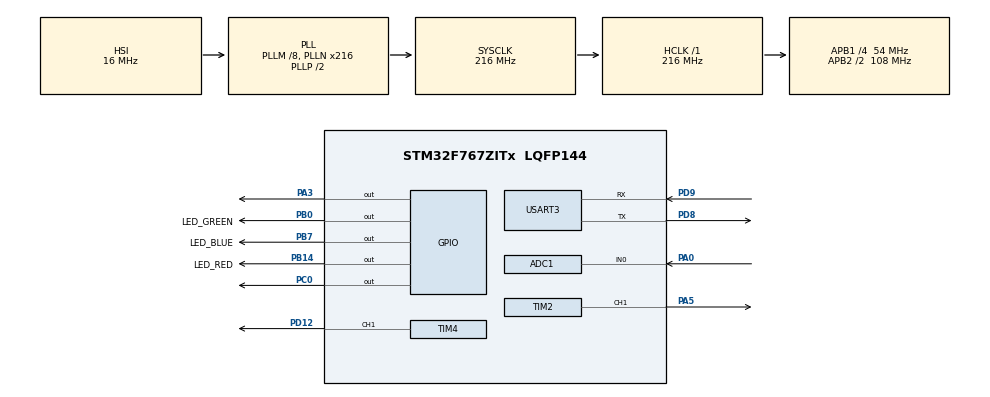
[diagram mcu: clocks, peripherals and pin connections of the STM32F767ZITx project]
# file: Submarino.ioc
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ADC1.Channel-0\#ChannelRegularConversion=ADC_CHANNEL_0
ADC1.ClockPrescaler=ADC_CLOCK_SYNC_PCLK_DIV4
ADC1.ContinuousConvMode=DISABLE
ADC1.DMAContinuousRequests=DISABLE
ADC1.DataAlign=ADC_DATAALIGN_RIGHT
ADC1.DiscontinuousConvMode=DISABLE
ADC1.EOCSelection=ADC_EOC_SINGLE_CONV
ADC1.EnableAnalogWatchDog=false
ADC1.ExternalTrigConv=ADC_SOFTWARE_START
ADC1.ExternalTrigConvEdge=ADC_EXTERNALTRIGCONVEDGE_NONE
ADC1.InjNumberOfConversion=0
ADC1.NbrOfConversion=1
ADC1.NbrOfConversionFlag=1
ADC1.Rank-0\#ChannelRegularConversion=1
ADC1.Resolution=ADC_RESOLUTION_12B
ADC1.SamplingTime-0\#ChannelRegularConversion=ADC_SAMPLETIME_3CYCLES
ADC1.ScanConvMode=DISABLE
ADC1.master=1
Mcu.Family=STM32F7
Mcu.Name=STM32F767ZITx
Mcu.Package=LQFP144
NVIC.PriorityGroup=NVIC_PRIORITYGROUP_4
NVIC.TIM4_IRQn=true\:0\:0\:false\:false\:true\:true
NVIC.TIM6_DAC_IRQn=true\:0\:0\:false\:false\:true\:true
NVIC.USART3_IRQn=true\:0\:0\:false\:false\:true\:true
PA0/WKUP.Signal=ADCx_IN0
PA13.Mode=Serial_Wire
PA13.Signal=SYS_JTMS-SWDIO
PA14.Mode=Serial_Wire
PA14.Signal=SYS_JTCK-SWCLK
PA3.Signal=GPIO_Output
PA5.Signal=S_TIM2_CH1_ETR
PB0.GPIO_Label=LED_GREEN
PB0.Signal=GPIO_Output
PB14.GPIO_Label=LED_RED
PB14.Signal=GPIO_Output
PB7.GPIO_Label=LED_BLUE
PB7.Signal=GPIO_Output
PC0.Signal=GPIO_Output
PD12.Signal=S_TIM4_CH1
PD8.Mode=Asynchronous
PD8.Signal=USART3_TX
PD9.Mode=Asynchronous
PD9.Signal=USART3_RX
PH0/OSC_IN.Mode=HSE-External-Oscillator
PH0/OSC_IN.Signal=RCC_OSC_IN
PH1/OSC_OUT.Mode=HSE-External-Oscillator
PH1/OSC_OUT.Signal=RCC_OSC_OUT
ProjectManager.HeapSize=0x200
ProjectManager.StackSize=0x400
ProjectManager.TargetToolchain=MDK-ARM V5
RCC.48MHZClocksFreq_Value=24000000
RCC.AHBFreq_Value=216000000
RCC.APB1CLKDivider=RCC_HCLK_DIV4
RCC.APB1Freq_Value=54000000
RCC.APB1TimFreq_Value=108000000
RCC.APB2CLKDivider=RCC_HCLK_DIV2
RCC.APB2Freq_Value=108000000
RCC.APB2TimFreq_Value=216000000
RCC.CortexFreq_Value=216000000
RCC.HCLKFreq_Value=216000000
RCC.HSE_VALUE=16000000
RCC.HSI_VALUE=16000000
RCC.LSE_VALUE=32768
RCC.PLLM=8
RCC.PLLMUL=RCC_PLL_MUL9
RCC.PLLN=216
RCC.PRESCALERUSB=RCC_USBCLKSOURCE_PLL_DIV1_5
RCC.SYSCLKFreq_VALUE=216000000
RCC.SYSCLKSource=RCC_SYSCLKSOURCE_PLLCLK
RCC.SYSCLKSourceVirtual=RCC_SYSCLKSOURCE_PLLCLK
RCC.USART3CLockSelection=RCC_USART3CLKSOURCE_HSI
RCC.USBFreq_Value=216000000
RCC.VCOOutputFreq_Value=432000000
SH.ADCx_IN0.0=ADC1_IN0,IN0
SH.S_TIM2_CH1_ETR.0=TIM2_CH1,PWM Generation1 CH1
SH.S_TIM4_CH1.0=TIM4_CH1,Output Compare1 CH1
TIM2.Channel-PWM\ Generation1\ CH1=TIM_CHANNEL_1
TIM4.Channel-Output\ Compare1\ CH1=TIM_CHANNEL_1
USART3.VirtualMode-Asynchronous=VM_ASYNC
USART3.WordLength=WORDLENGTH_8B
VP_TIM2_VS_ClockSourceINT.Mode=Internal
VP_TIM4_VS_ClockSourceINT.Mode=Internal
VP_TIM6_VS_ClockSourceINT.Mode=Enable_Timer
board=NUCLEO-F767ZI

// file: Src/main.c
/**
  ******************************************************************************
  * @file           : main.c
  * @brief          : Main program body
  ******************************************************************************
  ** This notice applies to any and all portions of this file
  * that are not between comment pairs USER CODE BEGIN and
  * USER CODE END. Other portions of this file, whether
  * inserted by the user or by software development tools
  * are owned by their respective copyright owners.
  *
  * COPYRIGHT(c) 2019 STMicroelectronics
  *
  * Redistribution and use in source and binary forms, with or without modification,
  * are permitted provided that the following conditions are met:
  *   1. Redistributions of source code must retain the above copyright notice,
  *      this list of conditions and the following disclaimer.
  *   2. Redistributions in binary form must reproduce the above copyright notice,
  *      this list of conditions and the following disclaimer in the documentation
  *      and/or other materials provided with the distribution.
  *   3. Neither the name of STMicroelectronics nor the names of its contributors
  *      may be used to endorse or promote products derived from this software
  *      without specific prior written permission.
  *
  * THIS SOFTWARE IS PROVIDED BY THE COPYRIGHT HOLDERS AND CONTRIBUTORS "AS IS"
  * AND ANY EXPRESS OR IMPLIED WARRANTIES, INCLUDING, BUT NOT LIMITED TO, THE
  * IMPLIED WARRANTIES OF MERCHANTABILITY AND FITNESS FOR A PARTICULAR PURPOSE ARE
  * DISCLAIMED. IN NO EVENT SHALL THE COPYRIGHT HOLDER OR CONTRIBUTORS BE LIABLE
  * FOR ANY DIRECT, INDIRECT, INCIDENTAL, SPECIAL, EXEMPLARY, OR CONSEQUENTIAL
  * DAMAGES (INCLUDING, BUT NOT LIMITED TO, PROCUREMENT OF SUBSTITUTE GOODS OR
  * SERVICES; LOSS OF USE, DATA, OR PROFITS; OR BUSINESS INTERRUPTION) HOWEVER
  * CAUSED AND ON ANY THEORY OF LIABILITY, WHETHER IN CONTRACT, STRICT LIABILITY,
  * OR TORT (INCLUDING NEGLIGENCE OR OTHERWISE) ARISING IN ANY WAY OUT OF THE USE
  * OF THIS SOFTWARE, EVEN IF ADVISED OF THE POSSIBILITY OF SUCH DAMAGE.
  *
  ******************************************************************************
  */
#include "main.h"
#include "stm32f7xx_hal.h"
#include "adc.h"
#include "tim.h"
#include "usart.h"
#include "gpio.h"

/* USER CODE BEGIN Includes */
#include "interface.h"
#include "limitacao.h"
#include "controlo.h"
#include "string.h"
/*
#include "main.h"
#include "stm32f7xx_hal.h"
#include "adc.h"
#include "tim.h"
#include "usart.h"
#include "gpio.h"
#include "interface.h"

*/
/* USER CODE END Includes */

/* USER CODE BEGIN PV */
/* Private variables ---------------------------------------------------------*/

/* USER CODE END PV */

void SystemClock_Config(void);

/* USER CODE BEGIN PFP */
/* Private function prototypes -----------------------------------------------*/

/* USER CODE END PFP */

/* USER CODE BEGIN 0 */
void interface(void);
int exec_getValue(float *valor);
int test_graf;
int valor_referencia;
/* USER CODE END 0 */

int main(void)
{

  /* MCU Configuration----------------------------------------------------------*/

  /* Reset of all peripherals, Initializes the Flash interface and the Systick. */
  HAL_Init();

  /* Configure the system clock */
  SystemClock_Config();

  /* Initialize all configured peripherals */
  MX_GPIO_Init();
  MX_ADC1_Init();
  MX_TIM2_Init();
  MX_USART3_UART_Init();
  MX_TIM4_Init();
  MX_TIM6_Init();
  /* USER CODE BEGIN 2 */
	init_UART3();
  HAL_TIM_Base_Start_IT(&htim4); //verifica��o de limita��o
  /* USER CODE END 2 */

  /* Infinite loop */
  /* USER CODE BEGIN WHILE */
  while (1)
  {
  //output_t(aux_pwm);

	if(test_graf){
  //printf("CG %d i \r\n", get_error());
	printf("CG %d i \r\n",10 );
	HAL_Delay(2);
	//printf("CP %d j \r\n",20);	//envia profundidade atual //////////////////////////////////////////////////////////////////////////////trocar 20 por valor de resis e samuel
	HAL_GPIO_TogglePin(GPIOB, GPIO_PIN_14);
	}

	if(messageReceived()){
			interface();
	}

	HAL_Delay(100);
  /* USER CODE END WHILE */

  }

}

void SystemClock_Config(void)
{

  RCC_OscInitTypeDef RCC_OscInitStruct;
  RCC_ClkInitTypeDef RCC_ClkInitStruct;
  RCC_PeriphCLKInitTypeDef PeriphClkInitStruct;

    /**Configure the main internal regulator output voltage
    */
  __HAL_RCC_PWR_CLK_ENABLE();

  __HAL_PWR_VOLTAGESCALING_CONFIG(PWR_REGULATOR_VOLTAGE_SCALE1);

    /**Initializes the CPU, AHB and APB busses clocks
    */
  RCC_OscInitStruct.OscillatorType = RCC_OSCILLATORTYPE_HSI;
  RCC_OscInitStruct.HSIState = RCC_HSI_ON;
  RCC_OscInitStruct.HSICalibrationValue = 16;
  RCC_OscInitStruct.PLL.PLLState = RCC_PLL_ON;
  RCC_OscInitStruct.PLL.PLLSource = RCC_PLLSOURCE_HSI;
  RCC_OscInitStruct.PLL.PLLM = 8;
  RCC_OscInitStruct.PLL.PLLN = 216;
  RCC_OscInitStruct.PLL.PLLP = RCC_PLLP_DIV2;
  RCC_OscInitStruct.PLL.PLLQ = 2;
  if (HAL_RCC_OscConfig(&RCC_OscInitStruct) != HAL_OK)
  {
    _Error_Handler(__FILE__, __LINE__);
  }

    /**Activate the Over-Drive mode
    */
  if (HAL_PWREx_EnableOverDrive() != HAL_OK)
  {
    _Error_Handler(__FILE__, __LINE__);
  }

    /**Initializes the CPU, AHB and APB busses clocks
    */
  RCC_ClkInitStruct.ClockType = RCC_CLOCKTYPE_HCLK|RCC_CLOCKTYPE_SYSCLK
                              |RCC_CLOCKTYPE_PCLK1|RCC_CLOCKTYPE_PCLK2;
  RCC_ClkInitStruct.SYSCLKSource = RCC_SYSCLKSOURCE_PLLCLK;
  RCC_ClkInitStruct.AHBCLKDivider = RCC_SYSCLK_DIV1;
  RCC_ClkInitStruct.APB1CLKDivider = RCC_HCLK_DIV4;
  RCC_ClkInitStruct.APB2CLKDivider = RCC_HCLK_DIV2;

  if (HAL_RCC_ClockConfig(&RCC_ClkInitStruct, FLASH_LATENCY_7) != HAL_OK)
  {
    _Error_Handler(__FILE__, __LINE__);
  }

  PeriphClkInitStruct.PeriphClockSelection = RCC_PERIPHCLK_USART3;
  PeriphClkInitStruct.Usart3ClockSelection = RCC_USART3CLKSOURCE_HSI;
  if (HAL_RCCEx_PeriphCLKConfig(&PeriphClkInitStruct) != HAL_OK)
  {
    _Error_Handler(__FILE__, __LINE__);
  }

    /**Configure the Systick interrupt time
    */
  HAL_SYSTICK_Config(HAL_RCC_GetHCLKFreq()/1000);

    /**Configure the Systick
    */
  HAL_SYSTICK_CLKSourceConfig(SYSTICK_CLKSOURCE_HCLK);

  /* SysTick_IRQn interrupt configuration */
  HAL_NVIC_SetPriority(SysTick_IRQn, 0, 0);
}

/* USER CODE BEGIN 4 */
void interface(void)
{
		if(COMMAND[0] == 'C' && COMMAND[1] == 'Y')
	{
		test_graf=1;
	}

		if(COMMAND[0] == 'C' && COMMAND[1] == 'S')
	{
		test_graf=0;
	}

			if(COMMAND[0] == 'S' && COMMAND[1] == 'E')
	{
		float aux3;

		if(exec_getValue(&aux3)){
		valor_referencia = (int)aux3;
		printf("CP %d j \r\n", valor_referencia );
		}
	}

}

int exec_getValue(float *valor)
{
	int x=0;
	int para=0;
		int partdec=0;
		int posPoint=0;
		float value=0;
	//&value = valor;

		for(int i=5;i<strlen((const char*)COMMAND);i++)
		{
			if(COMMAND[i]=='.')posPoint=i;
		}
		if(posPoint!=0)
		{
		for(int i=4;i<posPoint;i++)
						{

							if(COMMAND[i]>='0' && COMMAND[i] <='9')
							{
								para*=10;
								para += (COMMAND[i]-'0');
							}else para=123456;

						}
		for(int i=posPoint+1;i<strlen((const char*)COMMAND);i++)
						{

							if(COMMAND[i]>='0' && COMMAND[i] <='9')
							{
								x++;
								partdec*=10;
								partdec += (COMMAND[i]-'0');
							}else para=123456;

						}
		}
		else
		{
			for(int i=3;i<strlen((const char*)COMMAND);i++)
						{

							if(COMMAND[i]>='0' && COMMAND[i] <='9')
							{
								para*=10;
								para += (COMMAND[i]-'0');
							}else para=123456;

						}
		}
		if(para <123456)
		{
			float aux=partdec;
			int i;
			for(i=0;x>i;i++)
			{
				aux=aux/10;
				//printf("aux %f",aux);
			}
			*valor=aux+(float)para;
			//printf("Valor = %f e partdec %d e para %d",value,partdec,para);
			//Yr_ChangeValue ( value );
			return 1;
		}else
		//printf("CYR ok\r\n");
		return 0;

}

/* USER CODE END 4 */

void _Error_Handler(char *file, int line)
{
  while(1)
  {
  }
}

/************************ (C) COPYRIGHT STMicroelectronics *****END OF FILE****/
